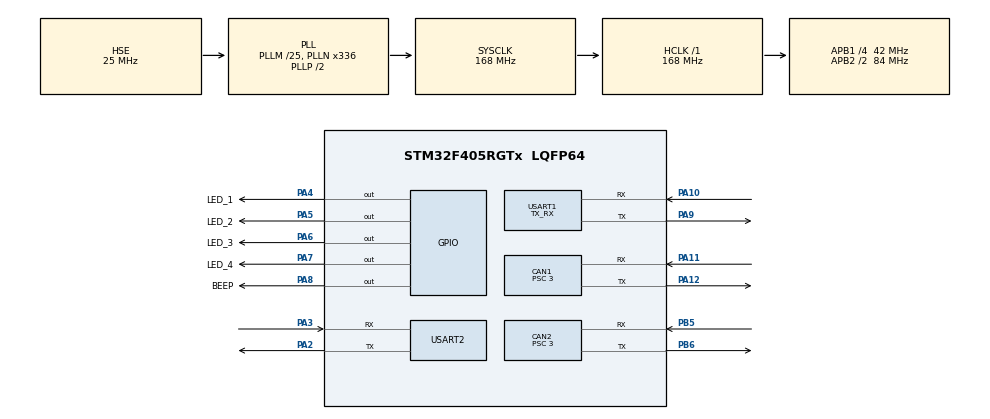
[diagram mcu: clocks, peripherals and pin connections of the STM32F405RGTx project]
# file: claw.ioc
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CAN1.ABOM=ENABLE
CAN1.AWUM=ENABLE
CAN1.BS1=CAN_BS1_9TQ
CAN1.BS2=CAN_BS2_4TQ
CAN1.CalculateBaudRate=1000000
CAN1.CalculateTimeBit=1000
CAN1.CalculateTimeQuantum=71.42857142857143
CAN1.NART=ENABLE
CAN1.Prescaler=3
CAN1.RFLM=DISABLE
CAN2.ABOM=ENABLE
CAN2.AWUM=ENABLE
CAN2.BS1=CAN_BS1_9TQ
CAN2.BS2=CAN_BS2_4TQ
CAN2.CalculateBaudRate=1000000
CAN2.CalculateTimeBit=1000
CAN2.CalculateTimeQuantum=71.42857142857143
CAN2.NART=ENABLE
CAN2.Prescaler=3
Dma.Request0=USART1_RX
Dma.Request1=USART1_TX
Dma.Request2=USART2_RX
Dma.Request3=USART2_TX
Dma.USART1_RX.0.Direction=DMA_PERIPH_TO_MEMORY
Dma.USART1_RX.0.FIFOMode=DMA_FIFOMODE_DISABLE
Dma.USART1_RX.0.Instance=DMA2_Stream2
Dma.USART1_RX.0.MemDataAlignment=DMA_MDATAALIGN_BYTE
Dma.USART1_RX.0.MemInc=DMA_MINC_ENABLE
Dma.USART1_RX.0.Mode=DMA_NORMAL
Dma.USART1_RX.0.PeriphDataAlignment=DMA_PDATAALIGN_BYTE
Dma.USART1_RX.0.PeriphInc=DMA_PINC_DISABLE
Dma.USART1_RX.0.Priority=DMA_PRIORITY_LOW
Dma.USART1_TX.1.Direction=DMA_MEMORY_TO_PERIPH
Dma.USART1_TX.1.FIFOMode=DMA_FIFOMODE_DISABLE
Dma.USART1_TX.1.Instance=DMA2_Stream7
Dma.USART1_TX.1.MemDataAlignment=DMA_MDATAALIGN_BYTE
Dma.USART1_TX.1.MemInc=DMA_MINC_ENABLE
Dma.USART1_TX.1.Mode=DMA_NORMAL
Dma.USART1_TX.1.PeriphDataAlignment=DMA_PDATAALIGN_BYTE
Dma.USART1_TX.1.PeriphInc=DMA_PINC_DISABLE
Dma.USART1_TX.1.Priority=DMA_PRIORITY_LOW
Dma.USART2_RX.2.Direction=DMA_PERIPH_TO_MEMORY
Dma.USART2_RX.2.FIFOMode=DMA_FIFOMODE_DISABLE
Dma.USART2_RX.2.Instance=DMA1_Stream5
Dma.USART2_RX.2.MemDataAlignment=DMA_MDATAALIGN_BYTE
Dma.USART2_RX.2.MemInc=DMA_MINC_ENABLE
Dma.USART2_RX.2.Mode=DMA_NORMAL
Dma.USART2_RX.2.PeriphDataAlignment=DMA_PDATAALIGN_BYTE
Dma.USART2_RX.2.PeriphInc=DMA_PINC_DISABLE
Dma.USART2_RX.2.Priority=DMA_PRIORITY_LOW
Dma.USART2_TX.3.Direction=DMA_MEMORY_TO_PERIPH
Dma.USART2_TX.3.FIFOMode=DMA_FIFOMODE_DISABLE
Dma.USART2_TX.3.Instance=DMA1_Stream6
Dma.USART2_TX.3.MemDataAlignment=DMA_MDATAALIGN_BYTE
Dma.USART2_TX.3.MemInc=DMA_MINC_ENABLE
Dma.USART2_TX.3.Mode=DMA_NORMAL
Dma.USART2_TX.3.PeriphDataAlignment=DMA_PDATAALIGN_BYTE
Dma.USART2_TX.3.PeriphInc=DMA_PINC_DISABLE
Dma.USART2_TX.3.Priority=DMA_PRIORITY_LOW
FREERTOS.Tasks01=LedTask,24,128,LedWaterTask,As weak,NULL,Dynamic,NULL,NULL;BeepTask,24,128,BeepAlarmTask,As weak,NULL,Dynamic,NULL,NULL;ClawTask,24,128,Claw_Task,As weak,NULL,Dynamic,NULL,NULL
Mcu.Family=STM32F4
Mcu.Name=STM32F405RGTx
Mcu.Package=LQFP64
NVIC.CAN1_RX0_IRQn=true\:5\:0\:true\:false\:true\:true\:true\:true\:true
NVIC.CAN1_RX1_IRQn=true\:5\:0\:true\:false\:true\:true\:true\:true\:true
NVIC.CAN2_RX0_IRQn=true\:5\:0\:false\:false\:true\:true\:true\:true\:true
NVIC.CAN2_RX1_IRQn=true\:5\:0\:false\:false\:true\:true\:true\:true\:true
NVIC.DMA1_Stream5_IRQn=true\:5\:0\:false\:false\:true\:true\:false\:true\:true
NVIC.DMA1_Stream6_IRQn=true\:5\:0\:false\:false\:true\:true\:false\:true\:true
NVIC.DMA2_Stream2_IRQn=true\:5\:0\:false\:false\:true\:true\:false\:true\:true
NVIC.DMA2_Stream7_IRQn=true\:5\:0\:false\:false\:true\:true\:false\:true\:true
NVIC.PriorityGroup=NVIC_PRIORITYGROUP_4
NVIC.TIM1_UP_TIM10_IRQn=true\:15\:0\:false\:false\:true\:false\:false\:true\:true
NVIC.TIM2_IRQn=true\:5\:0\:true\:false\:true\:true\:true\:true\:true
NVIC.TIM3_IRQn=true\:5\:0\:true\:false\:true\:true\:true\:true\:true
NVIC.TimeBase=TIM1_UP_TIM10_IRQn
NVIC.TimeBaseIP=TIM1
NVIC.USART1_IRQn=true\:5\:0\:true\:false\:true\:true\:true\:true\:true
NVIC.USART2_IRQn=true\:5\:0\:true\:false\:true\:true\:true\:true\:true
PA10.GPIO_PuPd=GPIO_PULLUP
PA10.GPIO_Speed=GPIO_SPEED_FREQ_VERY_HIGH
PA10.Mode=Asynchronous
PA10.Signal=USART1_RX
PA11.Mode=CAN_Activate
PA11.Signal=CAN1_RX
PA12.Mode=CAN_Activate
PA12.Signal=CAN1_TX
PA2.Mode=Asynchronous
PA2.Signal=USART2_TX
PA3.GPIO_PuPd=GPIO_PULLUP
PA3.Mode=Asynchronous
PA3.Signal=USART2_RX
PA4.GPIO_Label=LED_1
PA4.GPIO_ModeDefaultOutputPP=GPIO_MODE_OUTPUT_PP
PA4.GPIO_PuPd=GPIO_PULLDOWN
PA4.GPIO_Speed=GPIO_SPEED_FREQ_LOW
PA4.PinState=GPIO_PIN_RESET
PA4.Signal=GPIO_Output
PA5.GPIO_Label=LED_2
PA5.GPIO_PuPd=GPIO_PULLDOWN
PA5.Signal=GPIO_Output
PA6.GPIO_Label=LED_3
PA6.GPIO_PuPd=GPIO_PULLDOWN
PA6.Signal=GPIO_Output
PA7.GPIO_Label=LED_4
PA7.GPIO_PuPd=GPIO_PULLDOWN
PA7.Signal=GPIO_Output
PA8.GPIO_Label=BEEP
PA8.GPIO_PuPd=GPIO_PULLDOWN
PA8.Signal=GPIO_Output
PA9.Mode=Asynchronous
PA9.Signal=USART1_TX
PB5.Mode=CAN_Activate
PB5.Signal=CAN2_RX
PB6.Mode=CAN_Activate
PB6.Signal=CAN2_TX
PH0-OSC_IN.Mode=HSE-External-Oscillator
PH0-OSC_IN.Signal=RCC_OSC_IN
PH1-OSC_OUT.Mode=HSE-External-Oscillator
PH1-OSC_OUT.Signal=RCC_OSC_OUT
ProjectManager.HeapSize=0x800
ProjectManager.StackSize=0x400
ProjectManager.TargetToolchain=MDK-ARM V5.32
RCC.48MHZClocksFreq_Value=84000000
RCC.AHBFreq_Value=168000000
RCC.APB1CLKDivider=RCC_HCLK_DIV4
RCC.APB1Freq_Value=42000000
RCC.APB1TimFreq_Value=84000000
RCC.APB2CLKDivider=RCC_HCLK_DIV2
RCC.APB2Freq_Value=84000000
RCC.APB2TimFreq_Value=168000000
RCC.CortexFreq_Value=168000000
RCC.HCLKFreq_Value=168000000
RCC.HSE_VALUE=25000000
RCC.HSI_VALUE=16000000
RCC.LSE_VALUE=32768
RCC.PLLM=25
RCC.PLLN=336
RCC.PLLSourceVirtual=RCC_PLLSOURCE_HSE
RCC.SYSCLKFreq_VALUE=168000000
RCC.SYSCLKSource=RCC_SYSCLKSOURCE_PLLCLK
RCC.VCOOutputFreq_Value=336000000
TIM2.Period=1000-1
TIM2.Prescaler=84-1
TIM3.AutoReloadPreload=TIM_AUTORELOAD_PRELOAD_DISABLE
TIM3.Period=1000-1
TIM3.Prescaler=84-1
USART1.Mode=MODE_TX_RX
USART1.VirtualMode=VM_ASYNC
USART2.VirtualMode=VM_ASYNC
VP_FREERTOS_VS_CMSIS_V2.Mode=CMSIS_V2
VP_SYS_VS_tim1.Mode=TIM1
VP_TIM2_VS_ClockSourceINT.Mode=Internal
VP_TIM3_VS_ClockSourceINT.Mode=Internal
board=custom

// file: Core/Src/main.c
/* USER CODE BEGIN Header */
/**
  ******************************************************************************
  * @file           : main.c
  * @brief          : Main program body
  ******************************************************************************
  * @attention
  *
  * Copyright (c) 2026 STMicroelectronics.
  * All rights reserved.
  *
  * This software is licensed under terms that can be found in the LICENSE file
  * in the root directory of this software component.
  * If no LICENSE file comes with this software, it is provided AS-IS.
  *
  ******************************************************************************
  */
/* USER CODE END Header */
#include "main.h"
#include "cmsis_os.h"
#include "can.h"
#include "dma.h"
#include "tim.h"
#include "usart.h"
#include "gpio.h"

/* USER CODE BEGIN Includes */
#include "beep.h"
#include "led.h"
#include "exti_irqhandler.h"
#include "tim_irqhandler.h"
#include "uart_irqhandler.h"
#include "solenoid.h"
#include "Claw.h"
/* USER CODE END Includes */

void SystemClock_Config(void);
void MX_FREERTOS_Init(void);

int main(void)
{

  /* MCU Configuration--------------------------------------------------------*/

  /* Reset of all peripherals, Initializes the Flash interface and the Systick. */
  HAL_Init();

  /* Configure the system clock */
  SystemClock_Config();

  /* Initialize all configured peripherals */
  MX_GPIO_Init();
  MX_DMA_Init();
  MX_TIM2_Init();
  MX_TIM3_Init();
  MX_USART1_UART_Init();
  MX_CAN1_Init();
  MX_USART2_UART_Init();
  MX_CAN2_Init();
  /* USER CODE BEGIN 2 */
  Beep_Init();
  CAN_InitSendQueue();
  UART_Start_Recieve();
  solenoid_init();   /* 电磁阀板 CAN 控制模块(发送方),须在 MX_CANx_Init 之后 */
  #if USE_DJ
  DJmotor_Init();
  #endif
  #if USE_ZMDR
  ZdriveInit();
  #endif
  Claw_Init();
  /* USER CODE END 2 */

  /* Init scheduler */
  osKernelInitialize();  /* Call init function for freertos objects (in cmsis_os2.c) */
  MX_FREERTOS_Init();

  /* Start scheduler */
  osKernelStart();

  /* We should never get here as control is now taken by the scheduler */

  /* Infinite loop */
  while (1)
  {

  }
}

void SystemClock_Config(void)
{
  RCC_OscInitTypeDef RCC_OscInitStruct = {0};
  RCC_ClkInitTypeDef RCC_ClkInitStruct = {0};

  /** Configure the main internal regulator output voltage
  */
  __HAL_RCC_PWR_CLK_ENABLE();
  __HAL_PWR_VOLTAGESCALING_CONFIG(PWR_REGULATOR_VOLTAGE_SCALE1);

  /** Initializes the RCC Oscillators according to the specified parameters
  * in the RCC_OscInitTypeDef structure.
  */
  RCC_OscInitStruct.OscillatorType = RCC_OSCILLATORTYPE_HSE;
  RCC_OscInitStruct.HSEState = RCC_HSE_ON;
  RCC_OscInitStruct.PLL.PLLState = RCC_PLL_ON;
  RCC_OscInitStruct.PLL.PLLSource = RCC_PLLSOURCE_HSE;
  RCC_OscInitStruct.PLL.PLLM = 25;
  RCC_OscInitStruct.PLL.PLLN = 336;
  RCC_OscInitStruct.PLL.PLLP = RCC_PLLP_DIV2;
  RCC_OscInitStruct.PLL.PLLQ = 4;
  if (HAL_RCC_OscConfig(&RCC_OscInitStruct) != HAL_OK)
  {
    Error_Handler();
  }

  /** Initializes the CPU, AHB and APB buses clocks
  */
  RCC_ClkInitStruct.ClockType = RCC_CLOCKTYPE_HCLK|RCC_CLOCKTYPE_SYSCLK
                              |RCC_CLOCKTYPE_PCLK1|RCC_CLOCKTYPE_PCLK2;
  RCC_ClkInitStruct.SYSCLKSource = RCC_SYSCLKSOURCE_PLLCLK;
  RCC_ClkInitStruct.AHBCLKDivider = RCC_SYSCLK_DIV1;
  RCC_ClkInitStruct.APB1CLKDivider = RCC_HCLK_DIV4;
  RCC_ClkInitStruct.APB2CLKDivider = RCC_HCLK_DIV2;

  if (HAL_RCC_ClockConfig(&RCC_ClkInitStruct, FLASH_LATENCY_5) != HAL_OK)
  {
    Error_Handler();
  }
}

void HAL_TIM_PeriodElapsedCallback(TIM_HandleTypeDef *htim)
{
  if (htim->Instance == TIM1)
  {
    HAL_IncTick();
  }
  /* USER CODE BEGIN Callback 1 */
  TIM_PeriodElapsedCallback(htim);
  /* USER CODE END Callback 1 */
}

void Error_Handler(void)
{
  __disable_irq();
  while (1)
  {
  }
}

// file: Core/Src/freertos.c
/* USER CODE BEGIN Header */
/**
  ******************************************************************************
  * File Name          : freertos.c
  * Description        : Code for freertos applications
  ******************************************************************************
  * @attention
  *
  * Copyright (c) 2026 STMicroelectronics.
  * All rights reserved.
  *
  * This software is licensed under terms that can be found in the LICENSE file
  * in the root directory of this software component.
  * If no LICENSE file comes with this software, it is provided AS-IS.
  *
  ******************************************************************************
  */
/* USER CODE END Header */

#include "FreeRTOS.h"
#include "task.h"
#include "main.h"
#include "cmsis_os.h"

/* Definitions for LedTask */
osThreadId_t LedTaskHandle;
const osThreadAttr_t LedTask_attributes = {
  .name = "LedTask",
  .stack_size = 128 * 4,
  .priority = (osPriority_t) osPriorityNormal,
};
/* Definitions for BeepTask */
osThreadId_t BeepTaskHandle;
const osThreadAttr_t BeepTask_attributes = {
  .name = "BeepTask",
  .stack_size = 128 * 4,
  .priority = (osPriority_t) osPriorityNormal,
};
/* Definitions for ClawTask */
osThreadId_t ClawTaskHandle;
const osThreadAttr_t ClawTask_attributes = {
  .name = "ClawTask",
  .stack_size = 128 * 4,
  .priority = (osPriority_t) osPriorityNormal,
};

void LedWaterTask(void *argument);
void BeepAlarmTask(void *argument);
void Claw_Task(void *argument);

void MX_FREERTOS_Init(void); /* (MISRA C 2004 rule 8.1) */

void MX_FREERTOS_Init(void) {

  /* Create the thread(s) */
  /* creation of LedTask */
  LedTaskHandle = osThreadNew(LedWaterTask, NULL, &LedTask_attributes);

  /* creation of BeepTask */
  BeepTaskHandle = osThreadNew(BeepAlarmTask, NULL, &BeepTask_attributes);

  /* creation of ClawTask */
  ClawTaskHandle = osThreadNew(Claw_Task, NULL, &ClawTask_attributes);

}

__weak void LedWaterTask(void *argument)
{
  for(;;)
  {
    osDelay(1);
  }
}

__weak void BeepAlarmTask(void *argument)
{
  for(;;)
  {
    osDelay(1);
  }
}

__weak void Claw_Task(void *argument)
{
  for(;;)
  {
    osDelay(1);
  }
}
